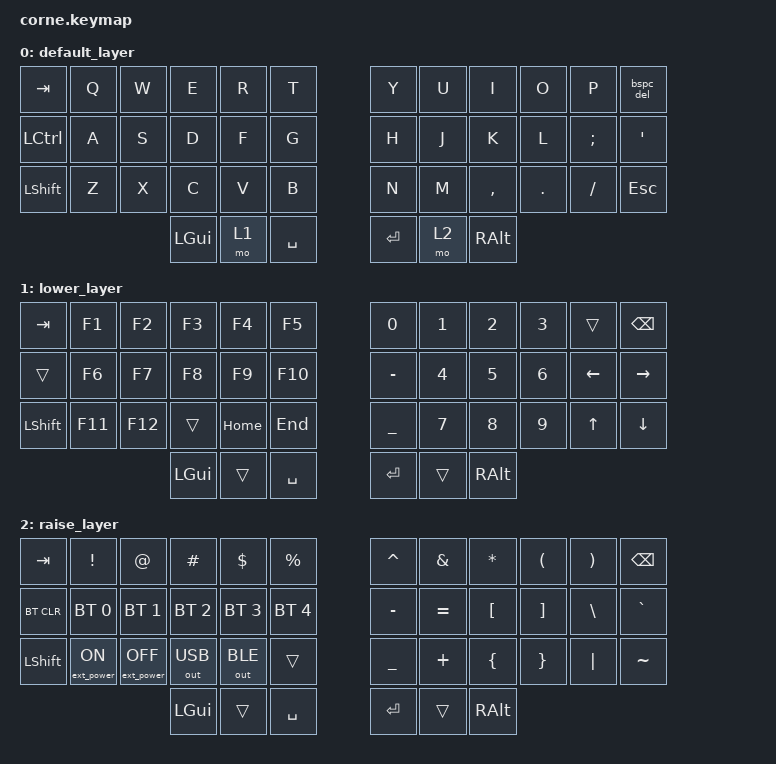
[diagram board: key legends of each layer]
/*
 * Copyright (c) 2020 The ZMK Contributors
 *
 * SPDX-License-Identifier: MIT
 */

#include <behaviors.dtsi>
#include <dt-bindings/zmk/bt.h>
#include <dt-bindings/zmk/ext_power.h>
#include <dt-bindings/zmk/keys.h>
#include <dt-bindings/zmk/outputs.h>

/ {
    behaviors {
        bspc_del: backspace_delete {
            compatible = "zmk,behavior-mod-morph";
            #binding-cells = <0>;
            bindings = <&kp BACKSPACE>, <&kp DELETE>;

            mods = <(MOD_LSFT|MOD_RSFT)>;
            keep-mods = <(MOD_RSFT)>;
        };
    };

    keymap {
        compatible = "zmk,keymap";

        default_layer {
            // -----------------------------------------------------------------------------------------
            // |  TAB |  Q  |  W  |  E  |  R  |  T  |   |  Y  |  U   |  I  |  O  |  P  | BKSP |
            // | CTRL |  A  |  S  |  D  |  F  |  G  |   |  H  |  J   |  K  |  L  |  ;  |  '   |
            // | SHFT |  Z  |  X  |  C  |  V  |  B  |   |  N  |  M   |  ,  |  .  |  /  | ESC  |
            //                    | GUI | LWR | SPC |   | ENT | RSE  | ALT |

            bindings = <
&kp TAB    &kp Q  &kp W  &kp E     &kp R  &kp T        &kp Y    &kp U  &kp I      &kp O    &kp P     &bspc_del
&kp LCTRL  &kp A  &kp S  &kp D     &kp F  &kp G        &kp H    &kp J  &kp K      &kp L    &kp SEMI  &kp SQT
&kp LSHFT  &kp Z  &kp X  &kp C     &kp V  &kp B        &kp N    &kp M  &kp COMMA  &kp DOT  &kp FSLH  &kp ESC
                         &kp LGUI  &mo 1  &kp SPACE    &kp RET  &mo 2  &kp RALT
            >;
        };

        lower_layer {
            // -----------------------------------------------------------------------------------------
            // |  TAB |  1  |  2  |  3  |  4  |  5  |   |  6  |  7  |  8  |  9  |  0  | BKSP |
            // | BTCLR| BT1 | BT2 | BT3 | BT4 | BT5 |   | LFT | DWN |  UP | RGT |     |      |
            // | SHFT |     |     |     |     |     |   |     |     |     |     |     |      |
            //                    | GUI |     | SPC |   | ENT |     | ALT |

            bindings = <
&kp TAB    &kp F1   &kp F2   &kp F3    &kp F4    &kp F5       &kp N0     &kp N1  &kp N2    &kp N3  &trans    &kp BSPC
&trans     &kp F6   &kp F7   &kp F8    &kp F9    &kp F10      &kp MINUS  &kp N4  &kp N5    &kp N6  &kp LEFT  &kp RIGHT
&kp LSHFT  &kp F11  &kp F12  &trans    &kp HOME  &kp END      &kp UNDER  &kp N7  &kp N8    &kp N9  &kp UP    &kp DOWN
                             &kp LGUI  &trans    &kp SPACE    &kp RET    &trans  &kp RALT
            >;
        };

        raise_layer {
            // -----------------------------------------------------------------------------------------
            // |  TAB |  !  |  @  |  #  |  $  |  %  |   |  ^  |  &  |  *  |  (  |  )  | BKSP |
            // | CTRL |     |     |     |     |     |   |  -  |  =  |  [  |  ]  |  \  |  `   |
            // | SHFT |     |     |     |     |     |   |  _  |  +  |  {  |  }  | "|" |  ~   |
            //                    | GUI |     | SPC |   | ENT |     | ALT |

            bindings = <
&kp TAB     &kp EXCL          &kp AT             &kp HASH      &kp DLLR      &kp PRCNT       &kp CARET  &kp AMPS   &kp ASTERISK  &kp LPAR  &kp RPAR  &kp BSPC
&bt BT_CLR  &bt BT_SEL 0      &bt BT_SEL 1       &bt BT_SEL 2  &bt BT_SEL 3  &bt BT_SEL 4    &kp MINUS  &kp EQUAL  &kp LBKT      &kp RBKT  &kp BSLH  &kp GRAVE
&kp LSHFT   &ext_power EP_ON  &ext_power EP_OFF  &out OUT_USB  &out OUT_BLE  &trans          &kp UNDER  &kp PLUS   &kp LBRC      &kp RBRC  &kp PIPE  &kp TILDE
                                                 &kp LGUI      &trans        &kp SPACE       &kp RET    &trans     &kp RALT
            >;
        };
    };
};
